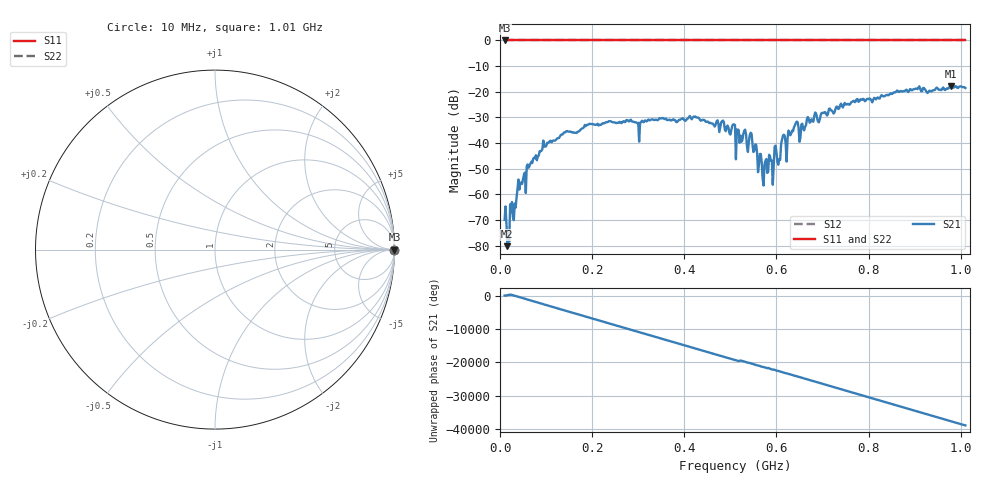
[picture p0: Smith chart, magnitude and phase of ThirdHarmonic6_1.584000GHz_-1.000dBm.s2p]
! 8/16/2025 6:51:41 PM
! C:\ANRITSUVNA\TEMP\TEMP.S2P
! CHANNEL.1
! TR.MEASUREMENT
! RAW.DATA
! RF.CORRECTION.OFF
! AVERAGING.OFF
! IF.BANDWIDTH: 5KHZ
! SWEEPTYPE:  FREQ.SWEEP(Linear)
! Reference Plane Port Info
! PORT:  PORT1  PORT2
! DISTANCE:  0  m  0  m
! TIME:  0  s  0  s
! PHASE.OFFSET:  0  deg.  0  deg.
! LOSS:  0  dB  0  dB
! REF.LOSS:  0  dB  0  dB
! REF.FREQ:  0  Hz  0  Hz
! Power Info
! POWER:  -20  dBm  -20  dBm
! EFF.POWER:  -20  dBm  -20  dBm
! SOURCE.ATTEN:  0  dB  0  dB
! TEST.ATTEN:  0  dB  0  dB
# GHZ S RI R 50.0
! FREQ.GHZ  S11RE  S11IM  S21RE  S21IM  S12RE  S12IM  S22RE  S22IM
!; PortSelection: Port_12
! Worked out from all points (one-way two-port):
!   501 points, 10 MHz to 1.01 GHz, reference 50 ohm
!   highest |S21| = -17.68 dB at 978 MHz (marker M1); lowest = -80.1 dB at 16 MHz (marker M2)
!   lowest |S11| = 0.0 dB at 10 MHz (marker M3)
!   |S11| at or under -10 dB: nowhere
!   |S22| runs from 0.0 to 0.0 dB; largest |S21 - S12| = 1.1
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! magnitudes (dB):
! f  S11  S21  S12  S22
! 10 MHz  0.0  -69.9  0.0  0.0
! 16 MHz  0.0  -80.1  0.0  0.0
! 32 MHz  0.0  -63.5  0.0  0.0
! 42 MHz  0.0  -58.1  0.0  0.0
! 62 MHz  0.0  -49.6  0.0  0.0
! 98 MHz  0.0  -41.2  0.0  0.0
! 178 MHz  0.0  -34.3  0.0  0.0
! 344 MHz  0.0  -30.8  0.0  0.0
! 424 MHz  0.0  -29.6  0.0  0.0
! 510 MHz  0.0  -32.9  0.0  0.0
! 544 MHz  0.0  -35.9  0.0  0.0
! 572 MHz  0.0  -56.5  0.0  0.0
! 598 MHz  0.0  -41.0  0.0  0.0
! 604 MHz  0.0  -48.4  0.0  0.0
! 614 MHz  0.0  -37.1  0.0  0.0
! 624 MHz  0.0  -38.3  0.0  0.0
! 642 MHz  0.0  -32.1  0.0  0.0
! 654 MHz  0.0  -32.7  0.0  0.0
! 678 MHz  0.0  -31.4  0.0  0.0
! 844 MHz  0.0  -21.3  0.0  0.0
! 978 MHz  0.0  -17.7  0.0  0.0
! 1.01 GHz  0.0  -18.5  0.0  0.0
